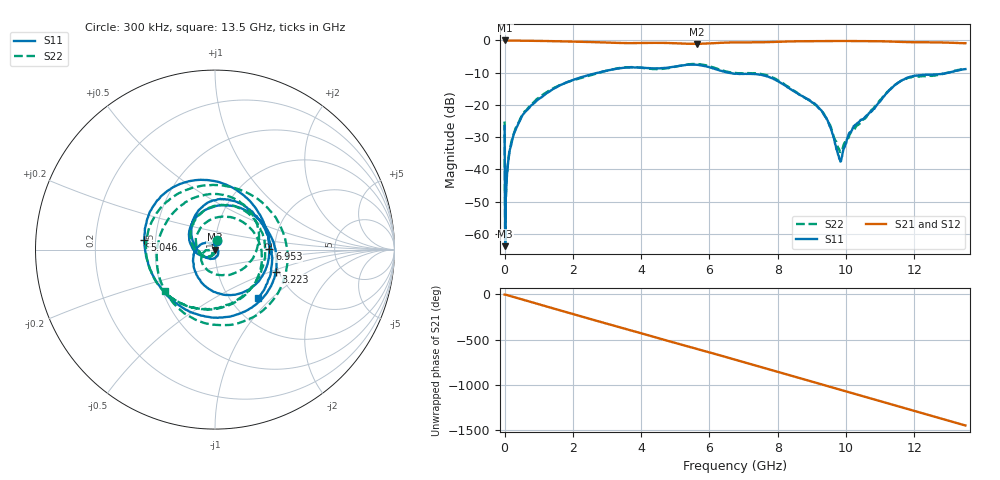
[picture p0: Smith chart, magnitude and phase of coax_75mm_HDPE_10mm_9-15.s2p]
!Agilent Technologies,N5230C,MY48100320,A.08.04.10
!Agilent N5230C: A.08.04.10
!Date: Thursday, September 15, 2016 22:14:08
!Correction: S11(Full 2 Port(1,2))
!S21(Full 2 Port(1,2))
!S12(Full 2 Port(1,2))
!S22(Full 2 Port(1,2))
!S2P File: Measurements: S11, S21, S12, S22:
# Hz S  dB  R 50
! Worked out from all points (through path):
!   801 points, 300 kHz to 13.5 GHz, reference 50 ohm
!   highest |S21| = 0.00 dB at 17.17 MHz (marker M1); lowest = -1.1 dB at 5.636 GHz (marker M2)
!   group delay of S21, straight-line fit = 297 ps
!   lowest |S11| = -63.8 dB at 17.17 MHz (marker M3), VSWR 1.00, Z = 49.9 - j0.013 ohm
!   |S11| at or under -10 dB: start of sweep to 2.743 GHz; 6.565 GHz to 12.99 GHz (6.421 GHz wide, 65.7 % of centre); 13.00172 GHz to 13.01463 GHz (12.91 MHz wide, 0.0992 % of centre)
!   |S22| runs from -62.1 to -7.3 dB; largest |S21 - S12| = 0.0037
!   S11 on the Smith chart (normalised r, x): 300 kHz: 1.01, +0.09; 3.223 GHz: 1.93, -0.54; 5.046 GHz: 0.43, +0.05; 6.953 GHz: 1.87, +0.01; 13.5 GHz: 1.33, -0.83
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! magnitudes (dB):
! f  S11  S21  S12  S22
! 300 kHz  -26.6  -0.1  -0.1  -25.1
! 17.17 MHz  -63.8  0.0  0.0  -62.1
! 84.67 MHz  -39.7  0.0  0.0  -39.6
! 135.3 MHz  -35.4  0.0  0.0  -34.6
! 219.7 MHz  -31.1  0.0  0.0  -30.6
! 590.9 MHz  -22.3  -0.1  -0.1  -22.0
! 1.333 GHz  -15.7  -0.2  -0.2  -15.4
! 2.261 GHz  -11.3  -0.4  -0.4  -11.6
! 3.223 GHz  -8.9  -0.7  -0.7  -8.8
! 4.506 GHz  -8.7  -0.8  -0.8  -8.9
! 5.046 GHz  -8.0  -0.9  -0.9  -8.0
! 5.636 GHz  -7.5  -1.1  -1.0  -7.3
! 6.75 GHz  -10.3  -0.6  -0.6  -10.1
! 6.953 GHz  -10.4  -0.6  -0.6  -10.2
! 7.83 GHz  -11.7  -0.5  -0.5  -11.4
! 9.011 GHz  -19.3  -0.2  -0.2  -19.1
! 9.433 GHz  -24.2  -0.2  -0.2  -24.3
! 9.838 GHz  -37.6  -0.2  -0.2  -34.6
! 10.24 GHz  -26.5  -0.2  -0.2  -27.7
! 11.26 GHz  -15.7  -0.3  -0.3  -15.5
! 11.85 GHz  -11.4  -0.5  -0.5  -11.5
! 13.5 GHz  -8.9  -0.8  -0.8  -8.8
